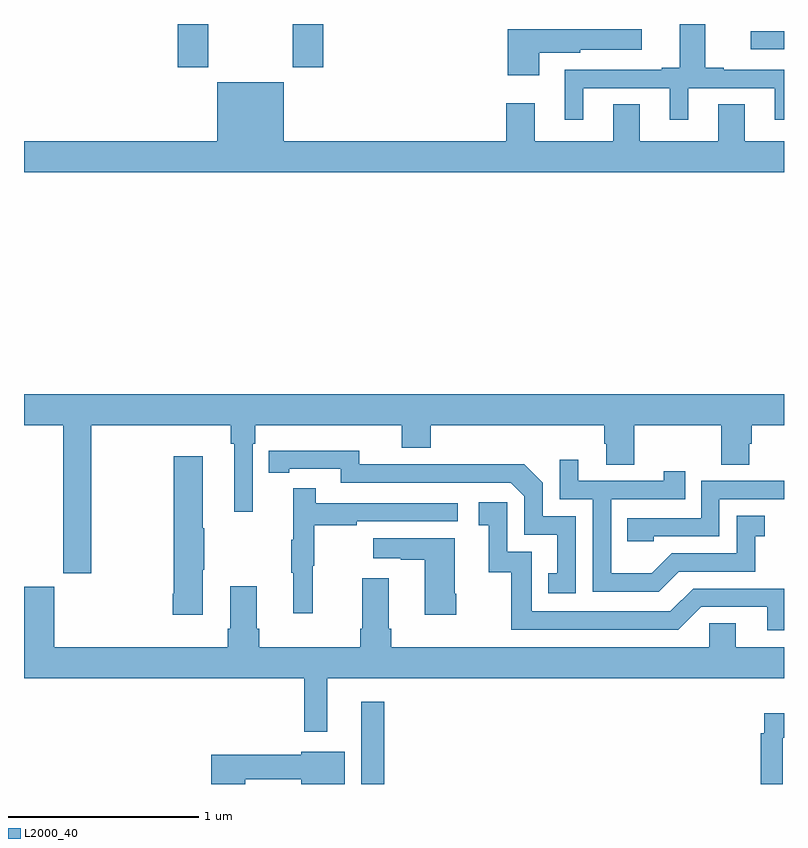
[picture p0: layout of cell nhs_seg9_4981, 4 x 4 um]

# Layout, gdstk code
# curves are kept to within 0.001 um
import gdstk
lib = gdstk.Library(unit=1e-6, precision=1e-09)
def R(c, l, rs):  # rectangles x0, y0, x1, y1
    for r in rs: c.add(gdstk.rectangle(r[:2], r[2:], *l))
def P(c, l, *ps):  # polygons
    for p in ps: c.add(gdstk.Polygon(p, *l))
L2000_40 = (2000, 40)

nhs_seg9_4981 = lib.new_cell('nhs_seg9_4981')
R(nhs_seg9_4981, L2000_40, [(400.775,1226.5,400.897,1226.932), (399.809,1230.273,399.969,1230.5), (400.414,1230.273,400.574,1230.5), (402.825,1230.366,403,1230.463)])
P(nhs_seg9_4981, L2000_40, [(401.944,1230.162),(402.398,1230.162),(402.398,1229.997),(402.496,1229.997),(402.496,1230.162),(402.95,1230.162),(402.95,1229.997),(403,1229.997),(403,1230.258),(402.682,1230.258),(402.682,1230.271),(402.586,1230.271),(402.586,1230.5),(402.452,1230.5),(402.452,1230.271),(402.356,1230.271),(402.356,1230.258),(401.846,1230.258),(401.846,1229.997),(401.944,1229.997)],
  [(401.713,1230.35),(401.928,1230.35),(401.928,1230.365),(402.25,1230.365),(402.25,1230.472),(401.546,1230.472),(401.546,1230.231),(401.713,1230.231)],
  [(403,1229.884),(402.793,1229.884),(402.793,1230.077),(402.653,1230.077),(402.653,1229.884),(402.241,1229.884),(402.241,1230.077),(402.101,1230.077),(402.101,1229.884),(401.689,1229.884),(401.689,1230.082),(401.537,1230.082),(401.537,1229.884),(400.366,1229.884),(400.366,1230.193),(400.016,1230.193),(400.016,1229.884),(399,1229.884),(399,1229.72),(403,1229.72)],
  [(399.354,1228.388),(400.087,1228.388),(400.087,1228.292),(400.106,1228.292),(400.106,1227.933),(400.203,1227.933),(400.203,1228.292),(400.217,1228.292),(400.217,1228.388),(400.988,1228.388),(400.988,1228.271),(401.141,1228.271),(401.141,1228.388),(402.053,1228.388),(402.053,1228.29),(402.065,1228.29),(402.065,1228.18),(402.213,1228.18),(402.213,1228.388),(402.67,1228.388),(402.67,1228.18),(402.817,1228.18),(402.817,1228.29),(402.83,1228.29),(402.83,1228.388),(403,1228.388),(403,1228.552),(399,1228.552),(399,1228.388),(399.206,1228.388),(399.206,1227.609),(399.354,1227.609)],
  [(401.904,1227.909),(401.73,1227.909),(401.73,1228.086),(401.632,1228.184),(401.224,1228.184),(401.224,1228.182),(400.764,1228.182),(400.764,1228.255),(400.288,1228.254),(400.288,1228.138),(400.396,1228.138),(400.396,1228.158),(400.668,1228.158),(400.668,1228.086),(401.562,1228.086),(401.634,1228.014),(401.634,1227.813),(401.807,1227.813),(401.807,1227.609),(401.758,1227.609),(401.758,1227.504),(401.904,1227.504)],
  [(399.94,1227.628),(399.948,1227.628),(399.948,1227.845),(399.94,1227.845),(399.94,1228.225),(399.787,1228.225),(399.787,1227.502),(399.782,1227.502),(399.782,1227.39),(399.94,1227.39)],
  [(402.445,1227.618),(402.849,1227.618),(402.849,1227.803),(402.898,1227.803),(402.898,1227.913),(402.75,1227.913),(402.75,1227.714),(402.408,1227.714),(402.304,1227.61),(402.09,1227.61),(402.09,1227.999),(402.479,1227.999),(402.479,1228.147),(402.368,1228.147),(402.368,1228.095),(401.917,1228.095),(401.917,1228.207),(401.82,1228.207),(401.82,1227.999),(401.994,1227.999),(401.994,1227.513),(402.34,1227.513)],
  [(402.315,1227.804),(402.66,1227.804),(402.66,1227.999),(403,1227.999),(403,1228.095),(402.564,1228.095),(402.564,1227.9),(402.175,1227.9),(402.175,1227.777),(402.315,1227.777)],
  [(400.52,1227.648),(400.528,1227.648),(400.528,1227.862),(400.751,1227.862),(400.751,1227.882),(401.284,1227.882),(401.284,1227.978),(400.535,1227.978),(400.535,1228.057),(400.418,1228.057),(400.418,1227.785),(400.407,1227.785),(400.407,1227.611),(400.418,1227.611),(400.418,1227.399),(400.52,1227.399)],
  [(403,1227.528),(402.522,1227.528),(402.402,1227.408),(401.673,1227.408),(401.673,1227.723),(401.544,1227.723),(401.544,1227.982),(401.394,1227.982),(401.394,1227.861),(401.447,1227.861),(401.447,1227.615),(401.565,1227.615),(401.565,1227.312),(402.444,1227.312),(402.564,1227.432),(402.911,1227.432),(402.911,1227.309),(403,1227.309)],
  [(401.274,1227.502),(401.266,1227.502),(401.266,1227.793),(400.839,1227.793),(400.839,1227.689),(400.982,1227.689),(400.982,1227.679),(401.108,1227.679),(401.108,1227.39),(401.274,1227.39)],
  [(400.597,1227.056),(403,1227.056),(403,1227.22),(402.745,1227.22),(402.745,1227.347),(402.606,1227.347),(402.606,1227.22),(400.934,1227.22),(400.934,1227.316),(400.921,1227.316),(400.921,1227.583),(400.781,1227.583),(400.781,1227.316),(400.769,1227.316),(400.769,1227.22),(400.238,1227.22),(400.238,1227.316),(400.225,1227.316),(400.225,1227.541),(400.085,1227.541),(400.085,1227.316),(400.073,1227.316),(400.073,1227.22),(399.16,1227.22),(399.16,1227.537),(399,1227.537),(399,1227.056),(400.476,1227.056),(400.476,1226.775),(400.597,1226.775)],
  [(402.993,1226.744),(403,1226.744),(403,1226.872),(402.897,1226.872),(402.897,1226.768),(402.877,1226.768),(402.877,1226.5),(402.993,1226.5)],
  [(400.164,1226.524),(400.46,1226.524),(400.46,1226.5),(400.687,1226.5),(400.687,1226.671),(400.46,1226.671),(400.46,1226.653),(399.986,1226.653),(399.986,1226.5),(400.164,1226.5)])

lib.write_gds('nhs_seg9_4981.gds')
